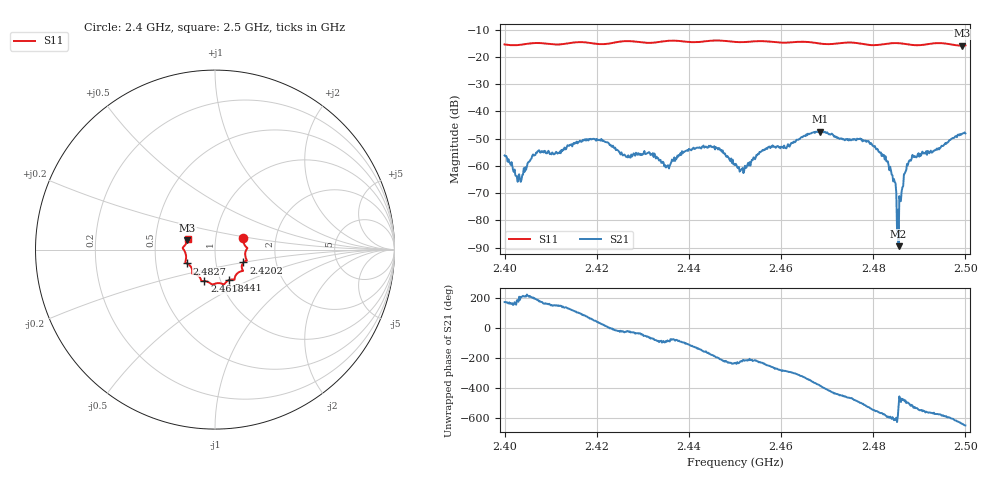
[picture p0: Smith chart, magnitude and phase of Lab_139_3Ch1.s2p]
# Hz S RI R 50
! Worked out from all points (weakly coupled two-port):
!   601 points, 2.4 GHz to 2.5 GHz, reference 50 ohm
!   highest |S21| = -47.39 dB at 2.4685 GHz (marker M1); lowest = -89.5 dB at 2.4855 GHz (marker M2)
!   lowest |S11| = -15.8 dB at 2.4993 GHz (marker M3), VSWR 1.39, Z = 36.5 + j3.84 ohm
!   |S11| at or under -10 dB: start of sweep to end of sweep
!   S12 and S22 are empty: the file has one direction only
!   S11 on the Smith chart (normalised r, x): 2.4 GHz: 1.36, +0.18; 2.4202 GHz: 1.36, -0.20; 2.441 GHz: 1.10, -0.39; 2.4618 GHz: 0.84, -0.30; 2.4827 GHz: 0.72, -0.12; 2.5 GHz: 0.73, +0.09
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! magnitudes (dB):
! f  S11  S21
! 2.4 GHz  -15.4  -56.2
! 2.4032 GHz  -15.6  -63.1
! 2.407 GHz  -14.9  -55.2
! 2.4167 GHz  -14.5  -51.2
! 2.4202 GHz  -15.2  -50.5
! 2.4333 GHz  -14.5  -57.2
! 2.4355 GHz  -14.1  -59.8
! 2.441 GHz  -14.6  -53.3
! 2.4463 GHz  -13.9  -54.0
! 2.45 GHz  -14.5  -59.7
! 2.4515 GHz  -14.5  -61.2
! 2.4563 GHz  -14.2  -54.0
! 2.4618 GHz  -14.6  -52.9
! 2.4667 GHz  -14.6  -47.9
! 2.4685 GHz  -15.1  -47.4
! 2.4785 GHz  -15.4  -51.2
! 2.4827 GHz  -15.2  -56.4
! 2.4833 GHz  -15.0  -59.8
! 2.4855 GHz  -14.9  -89.5
! 2.4882 GHz  -15.5  -58.1
! 2.4993 GHz  -15.8  -48.1
! 2.5 GHz  -15.7  -48.1
